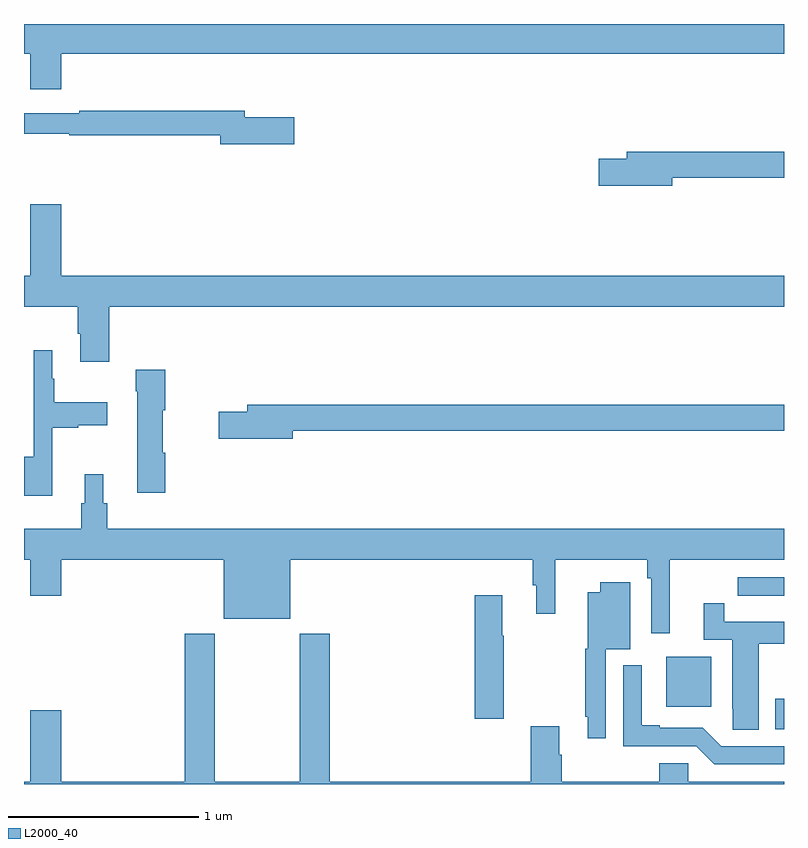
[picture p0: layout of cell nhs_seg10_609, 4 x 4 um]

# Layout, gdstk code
import gdstk
lib = gdstk.Library(unit=1e-6, precision=1e-09)
def R(c, l, rs):  # rectangles x0, y0, x1, y1
    for r in rs: c.add(gdstk.rectangle(r[:2], r[2:], *l))
def P(c, l, *ps):  # polygons
    for p in ps: c.add(gdstk.Polygon(p, *l))
L2000_40 = (2000, 40)

nhs_seg10_609 = lib.new_cell('nhs_seg10_609')
R(nhs_seg10_609, L2000_40, [(144.953,1268.789,145,1268.949), (144.38,1268.906,144.616,1269.169)])
P(nhs_seg10_609, L2000_40, [(141.196,1272.344),(145,1272.344),(145,1272.5),(141,1272.5),(141,1272.344),(141.032,1272.344),(141.032,1272.156),(141.196,1272.156)],
  [(142.423,1272.009),(142.162,1272.009),(142.162,1272.043),(141.292,1272.043),(141.292,1272.03),(141,1272.03),(141,1271.922),(141.238,1271.922),(141.238,1271.914),(142.034,1271.914),(142.034,1271.867),(142.423,1271.867)],
  [(144.412,1271.692),(145,1271.692),(145,1271.828),(144.173,1271.828),(144.173,1271.792),(144.024,1271.792),(144.024,1271.65),(144.412,1271.65)],
  [(141.449,1271.012),(145,1271.012),(145,1271.176),(141.196,1271.176),(141.196,1271.551),(141.032,1271.551),(141.032,1271.176),(141,1271.176),(141,1271.012),(141.284,1271.012),(141.284,1270.87),(141.296,1270.87),(141.296,1270.722),(141.449,1270.722)],
  [(141.148,1270.376),(141.285,1270.376),(141.285,1270.388),(141.439,1270.388),(141.439,1270.51),(141.16,1270.51),(141.16,1270.634),(141.148,1270.634),(141.148,1270.783),(141.051,1270.783),(141.051,1270.222),(141,1270.222),(141,1270.016),(141.148,1270.016)],
  [(141.743,1270.244),(141.73,1270.244),(141.73,1270.468),(141.743,1270.468),(141.743,1270.681),(141.589,1270.681),(141.589,1270.568),(141.596,1270.568),(141.596,1270.032),(141.743,1270.032)],
  [(142.414,1270.36),(145,1270.36),(145,1270.496),(142.175,1270.496),(142.175,1270.46),(142.026,1270.46),(142.026,1270.318),(142.414,1270.318)],
  [(141,1269.68),(141.032,1269.68),(141.032,1269.492),(141.196,1269.492),(141.196,1269.68),(142.052,1269.68),(142.052,1269.371),(142.402,1269.371),(142.402,1269.68),(143.677,1269.68),(143.677,1269.546),(143.696,1269.546),(143.696,1269.396),(143.796,1269.396),(143.796,1269.68),(144.28,1269.68),(144.28,1269.584),(144.3,1269.584),(144.3,1269.294),(144.398,1269.294),(144.398,1269.68),(145,1269.68),(145,1269.844),(141.437,1269.844),(141.437,1269.978),(141.418,1269.978),(141.418,1270.129),(141.32,1270.129),(141.32,1269.978),(141.301,1269.978),(141.301,1269.844),(141,1269.844)],
  [(145,1269.588),(144.756,1269.588),(144.756,1269.492),(144.868,1269.492),(144.868,1269.491),(145,1269.491)],
  [(144.063,1269.209),(144.19,1269.209),(144.19,1269.562),(144.032,1269.562),(144.032,1269.508),(143.966,1269.508),(143.966,1269.213),(143.955,1269.213),(143.955,1268.854),(143.966,1268.854),(143.966,1268.742),(144.063,1268.742)],
  [(143.526,1269.28),(143.518,1269.28),(143.518,1269.493),(143.372,1269.493),(143.372,1268.844),(143.526,1268.844)],
  [(144.868,1269.238),(145,1269.238),(145,1269.354),(144.686,1269.354),(144.686,1269.451),(144.578,1269.451),(144.578,1269.258),(144.728,1269.258),(144.728,1268.896),(144.729,1268.896),(144.729,1268.785),(144.868,1268.785)],
  [(144.344,1268.512),(143.831,1268.512),(143.831,1268.654),(143.818,1268.654),(143.818,1268.803),(143.666,1268.803),(143.666,1268.512),(142.61,1268.512),(142.61,1269.292),(142.45,1269.292),(142.45,1268.512),(142.005,1268.512),(142.005,1269.292),(141.845,1269.292),(141.845,1268.512),(141.196,1268.512),(141.196,1268.887),(141.032,1268.887),(141.032,1268.512),(141,1268.512),(141,1268.5),(145,1268.5),(145,1268.512),(144.495,1268.512),(144.495,1268.61),(144.344,1268.61)],
  [(145,1268.7),(144.669,1268.7),(144.573,1268.796),(144.346,1268.796),(144.346,1268.809),(144.25,1268.809),(144.25,1269.124),(144.153,1269.124),(144.153,1268.7),(144.537,1268.7),(144.633,1268.604),(145,1268.604)])

lib.write_gds('nhs_seg10_609.gds')
